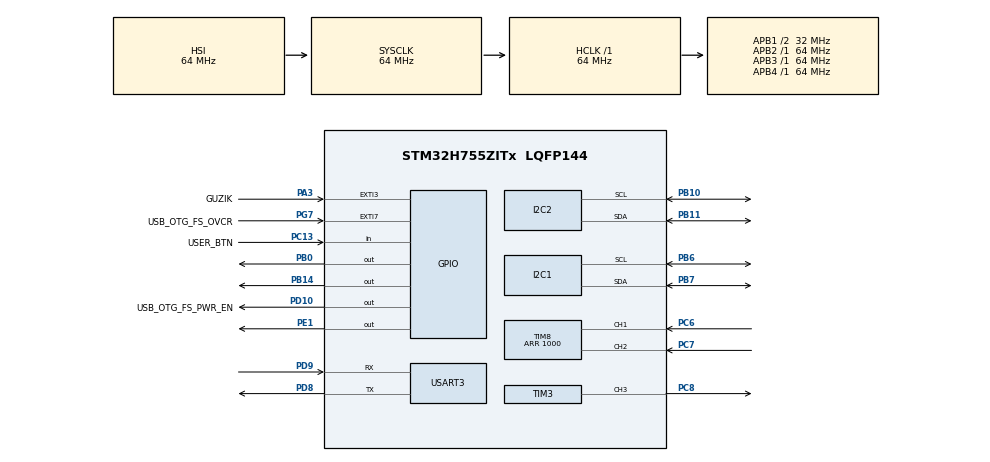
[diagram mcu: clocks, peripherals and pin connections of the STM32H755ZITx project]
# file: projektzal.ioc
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CortexM4.IPs=FATFS_M4\:I,FREERTOS_M4\:I,IWDG2\:I,RCC,WWDG2\:I,DMA,BDMA,MDMA,NVIC2\:I,ETH,USART3,DEBUG,PDM2PCM_M4\:I,PWR,RESMGR_UTILITY,SYS_M4\:I,USB_DEVICE_M4\:I,USB_HOST_M4\:I,CORTEX_M4\:I,GPIO,OPENAMP_M4\:I,VREFBUF,NUCLEO-H755ZI-Q
CortexM7.IPs=FATFS_M7\:I,FREERTOS_M7\:I,IWDG1\:I,RCC\:I,WWDG1\:I,DMA\:I,BDMA\:I,MDMA\:I,NVIC1\:I,ETH\:I,USART3\:I,USB_OTG_FS\:I,SYS\:I,CORTEX_M7\:I,DEBUG\:I,PDM2PCM_M7\:I,PWR\:I,RESMGR_UTILITY\:I,USB_DEVICE_M7\:I,USB_HOST_M7\:I,GPIO\:I,OPENAMP_M7\:I,VREFBUF\:I,NUCLEO-H755ZI-Q\:I,I2C1\:I,TIM2\:I,TIM3\:I,I2C2\:I,TIM8\:I
CortexM7.Pins=PC13,PA3,PB0
I2C1.Timing=0x00707CBB
I2C2.Timing=0x00707CBB
Mcu.Family=STM32H7
Mcu.Name=STM32H755ZITx
Mcu.Package=LQFP144
NVIC1.EXTI3_IRQn=true\:0\:0\:false\:false\:true\:true\:true\:true
NVIC1.I2C1_ER_IRQn=true\:0\:0\:false\:false\:true\:true\:true\:true
NVIC1.I2C1_EV_IRQn=true\:0\:0\:false\:false\:true\:true\:true\:true
NVIC1.I2C2_ER_IRQn=true\:0\:0\:false\:false\:true\:true\:true\:true
NVIC1.I2C2_EV_IRQn=true\:0\:0\:false\:false\:true\:true\:true\:true
NVIC1.PriorityGroup=NVIC_PRIORITYGROUP_4
NVIC1.TIM2_IRQn=true\:0\:0\:false\:false\:true\:true\:true\:true
NVIC1.TIM3_IRQn=true\:0\:0\:false\:false\:true\:true\:true\:true
NVIC1.USART3_IRQn=true\:0\:0\:false\:false\:true\:true\:true\:true
NVIC2.PriorityGroup=NVIC_PRIORITYGROUP_4
PA1.PinAttribute=CortexM7
PA1.Signal=ETH_REF_CLK
PA11.PinAttribute=CortexM7
PA11.Signal=USB_OTG_FS_DM
PA12.PinAttribute=CortexM7
PA12.Signal=USB_OTG_FS_DP
PA2.PinAttribute=CortexM7
PA2.Signal=ETH_MDIO
PA3.GPIO_Label=GUZIK
PA3.GPIO_ModeDefaultEXTI=GPIO_MODE_IT_FALLING
PA3.GPIO_PuPd=GPIO_PULLUP
PA3.PinAttribute=CortexM7
PA3.Signal=GPXTI3
PA7.PinAttribute=CortexM7
PA7.Signal=ETH_CRS_DV
PA8.PinAttribute=CortexM7
PA8.Signal=USB_OTG_FS_SOF
PA9.PinAttribute=CortexM7
PA9.Signal=USB_OTG_FS_VBUS
PB0.GPIO_PuPd=GPIO_NOPULL
PB0.PinAttribute=CortexM7
PB0.Signal=GPIO_Output
PB10.Mode=I2C
PB10.PinAttribute=CortexM7
PB10.Signal=I2C2_SCL
PB11.Mode=I2C
PB11.PinAttribute=CortexM7
PB11.Signal=I2C2_SDA
PB13.PinAttribute=CortexM7
PB13.Signal=ETH_TXD1
PB14.PinAttribute=Free
PB14.Signal=GPIO_Output
PB6.Mode=I2C
PB6.PinAttribute=CortexM7
PB6.Signal=I2C1_SCL
PB7.Mode=I2C
PB7.PinAttribute=CortexM7
PB7.Signal=I2C1_SDA
PC1.PinAttribute=CortexM7
PC1.Signal=ETH_MDC
PC13.GPIO_Label=USER_BTN
PC13.GPIO_PuPd=GPIO_PULLUP
PC13.PinAttribute=CortexM7
PC13.Signal=GPIO_Input
PC14-OSC32_IN\ (OSC32_IN).PinAttribute=Free
PC14-OSC32_IN\ (OSC32_IN).Signal=RCC_OSC32_IN
PC15-OSC32_OUT\ (OSC32_OUT).PinAttribute=Free
PC15-OSC32_OUT\ (OSC32_OUT).Signal=RCC_OSC32_OUT
PC4.PinAttribute=CortexM7
PC4.Signal=ETH_RXD0
PC5.PinAttribute=CortexM7
PC5.Signal=ETH_RXD1
PC6.PinAttribute=CortexM7
PC6.Signal=S_TIM8_CH1
PC7.PinAttribute=CortexM7
PC7.Signal=S_TIM8_CH2
PC8.PinAttribute=CortexM7
PC8.Signal=S_TIM3_CH3
PD10.GPIO_Label=USB_OTG_FS_PWR_EN
PD10.PinAttribute=Free
PD10.Signal=GPIO_Output
PD8.Mode=Asynchronous
PD8.PinAttribute=CortexM7
PD8.Signal=USART3_TX
PD9.Mode=Asynchronous
PD9.PinAttribute=CortexM7
PD9.Signal=USART3_RX
PE1.PinAttribute=Free
PE1.Signal=GPIO_Output
PG11.PinAttribute=CortexM7
PG11.Signal=ETH_TX_EN
PG13.PinAttribute=CortexM7
PG13.Signal=ETH_TXD0
PG7.GPIO_Label=USB_OTG_FS_OVCR
PG7.PinAttribute=Free
PG7.Signal=GPXTI7
PH0-OSC_IN\ (PH0).PinAttribute=Free
PH0-OSC_IN\ (PH0).Signal=RCC_OSC_IN
PH1-OSC_OUT\ (PH1).PinAttribute=Free
PH1-OSC_OUT\ (PH1).Signal=RCC_OSC_OUT
ProjectManager.HeapSize=M4-0x200,M7-0x200
ProjectManager.StackSize=M4-0x400,M7-0x400
ProjectManager.TargetToolchain=STM32CubeIDE
RCC.ADCFreq_Value=129000000
RCC.APB1Freq_Value=32000000
RCC.APB2Freq_Value=64000000
RCC.APB3Freq_Value=64000000
RCC.APB4Freq_Value=64000000
RCC.CortexFreq_Value=64000000
RCC.D2PPRE1=RCC_APB1_DIV2
RCC.DIVM1=5
RCC.DIVN1=48
RCC.DIVQ1=5
RCC.HCLKFreq_Value=64000000
RCC.PLL2FRACN=0
RCC.PLL3FRACN=0
RCC.PLLFRACN=0
RCC.SYSCLKFreq_VALUE=64000000
RCC.SupplySource=PWR_DIRECT_SMPS_SUPPLY
RCC.USBCLockSelection=RCC_USBCLKSOURCE_HSI48
RCC.USBFreq_Value=48000000
SH.S_TIM3_CH3.0=TIM3_CH3,PWM Generation3 CH3
SH.S_TIM8_CH1.0=TIM8_CH1,Encoder_Interface
SH.S_TIM8_CH2.0=TIM8_CH2,Encoder_Interface
TIM2.Period=999
TIM2.Prescaler=639
TIM3.Channel-PWM\ Generation3\ CH3=TIM_CHANNEL_3
TIM3.Period=999
TIM3.Prescaler=63
TIM3.Pulse-PWM\ Generation3\ CH3=500
TIM8.EncoderMode=TIM_ENCODERMODE_TI12
TIM8.Period=1000
USART3.VirtualMode-Asynchronous=VM_ASYNC
VP_SYS_M4_VS_Systick.Mode=SysTick
VP_TIM2_VS_ClockSourceINT.Mode=Internal
board=NUCLEO-H755ZI-Q

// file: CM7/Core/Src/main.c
/* USER CODE BEGIN Header */
/**
  ******************************************************************************
  * @file           : main.c
  * @brief          : Main program body
  ******************************************************************************
  * @attention
  *
  * Copyright (c) 2025 STMicroelectronics.
  * All rights reserved.
  *
  * This software is licensed under terms that can be found in the LICENSE file
  * in the root directory of this software component.
  * If no LICENSE file comes with this software, it is provided AS-IS.
  *
  ******************************************************************************
  */
/* USER CODE END Header */
#include "main.h"
#include "i2c.h"
#include "tim.h"
#include "usart.h"
#include "gpio.h"

/* USER CODE BEGIN Includes */
#include "bmp2.h"
#include "pid.h"
#include <stdint.h>
#include <stdbool.h>
#include <stdio.h>
#include <math.h>
#include "lcd_i2c.h"

/* USER CODE END Includes */

/* USER CODE BEGIN PD */

#ifndef HSEM_ID_0
#define HSEM_ID_0 (0U) /* HW semaphore 0*/
#endif

/* USER CODE END PD */

/* USER CODE BEGIN PV */
  BMP280_CalibrationData calib_data;

  char uart_msg[50];
  float temperature;
  float liczba_pom=0.0;
  char wejscie[3];
  char pomoc[2];
  float wartosc =28.0f;
  float wartosc_spr =0.0f;
  float kp=8000.0;
  float ki=1500.0;
  float kd=100.0;
  pid_str pid_controller;
  char uchyb[50];
  char sygnal[50];
  float pid_output=0.0;
  float scaled_output=0.0;
  int final_output=0;
  int licznik = 0;
  struct lcd_disp disp;
  int min_pid = 0;
  int max_pid = 1000;
  float min_zak = 20.0f;
  float max_zak = 40.0f;
  float wartosc_enk = 0.0f;

  //float sigmoid(float x) {return 2.0 * (1.0 / (1.0 + exp(-0.5*x)) - 0.5);}

/* USER CODE END PV */

void SystemClock_Config(void);

int main(void)
{

/* USER CODE BEGIN Boot_Mode_Sequence_0 */
  int32_t timeout;
/* USER CODE END Boot_Mode_Sequence_0 */

/* USER CODE BEGIN Boot_Mode_Sequence_1 */
  /* Wait until CPU2 boots and enters in stop mode or timeout*/
  timeout = 0xFFFF;
  while((__HAL_RCC_GET_FLAG(RCC_FLAG_D2CKRDY) != RESET) && (timeout-- > 0));
  if ( timeout < 0 )
  {
  Error_Handler();
  }
/* USER CODE END Boot_Mode_Sequence_1 */
  /* MCU Configuration--------------------------------------------------------*/

  /* Reset of all peripherals, Initializes the Flash interface and the Systick. */
  HAL_Init();

  /* Configure the system clock */
  SystemClock_Config();
/* USER CODE BEGIN Boot_Mode_Sequence_2 */
/* When system initialization is finished, Cortex-M7 will release Cortex-M4 by means of
HSEM notification */
/*HW semaphore Clock enable*/
__HAL_RCC_HSEM_CLK_ENABLE();
/*Take HSEM */
HAL_HSEM_FastTake(HSEM_ID_0);
/*Release HSEM in order to notify the CPU2(CM4)*/
HAL_HSEM_Release(HSEM_ID_0,0);
/* wait until CPU2 wakes up from stop mode */
timeout = 0xFFFF;
while((__HAL_RCC_GET_FLAG(RCC_FLAG_D2CKRDY) == RESET) && (timeout-- > 0));
if ( timeout < 0 )
{
Error_Handler();
}
/* USER CODE END Boot_Mode_Sequence_2 */

  /* Initialize all configured peripherals */
  MX_GPIO_Init();
  MX_I2C1_Init();
  MX_USART3_UART_Init();
  MX_TIM2_Init();
  MX_TIM3_Init();
  MX_I2C2_Init();
  MX_TIM8_Init();
  /* USER CODE BEGIN 2 */
  BMP280_Init(&hi2c1);

  BMP280_ReadCalibrationData(&hi2c1, &calib_data);
  HAL_TIM_PWM_Stop(&htim3, TIM_CHANNEL_3);
  __HAL_TIM_SET_COMPARE(&htim3, TIM_CHANNEL_3, 0);
  	  htim3.Init.Period = 999;
  HAL_TIM_Base_Init(&htim3);
  HAL_TIM_Base_Start(&htim3);
  HAL_TIM_PWM_Start(&htim3, TIM_CHANNEL_3);

  pid_init(&pid_controller,  kp,  ki,  kd,5000);

  	  disp.addr = (0x27 << 1);
    disp.bl = true;
    lcd_init(&disp);

    HAL_TIM_Encoder_Start(&htim8 , TIM_CHANNEL_ALL) ;
  /* USER CODE END 2 */

  /* Infinite loop */
  /* USER CODE BEGIN WHILE */
  HAL_TIM_Base_Start_IT(&htim2);
  HAL_UART_Receive_IT(&huart3, wejscie, 3);

  while (1)
  {
	  uint32_t enkoder = __HAL_TIM_GET_COUNTER(&htim8);

	  __HAL_TIM_SET_COUNTER(&htim8 , enkoder );
	  wartosc_enk =(float) (enkoder/50+20);
	  if(HAL_GPIO_ReadPin(GPIOB, GPIO_PIN_0) == GPIO_PIN_SET)
	  {
	  char zmienna [20] ;
	  snprintf(zmienna, sizeof(zmienna), "%.2f",wartosc_enk);
	  HAL_UART_Transmit(&huart3 ,"Licznik:", strlen("Licznik:") ,1000 );
	  HAL_UART_Transmit(&huart3 ,( uint8_t*) zmienna, strlen(zmienna) ,1000 );
	  HAL_UART_Transmit(&huart3 ,( uint8_t*) "\r\n", strlen( "\r\n" ), 1000 );
	  wartosc = wartosc_enk;
	  }

 	 char sygnal[50];
 	 snprintf(sygnal, sizeof(sygnal), "Sygnal: %d \r\n", final_output);
 	 char tempe[50];
 	 snprintf(tempe, sizeof(tempe), "Temp: %.2f C\r\n", temperature);
	     sprintf((char *)disp.f_line, sygnal);
	     sprintf((char *)disp.s_line, tempe);
	     lcd_display(&disp);
	     HAL_Delay(500);

    /* USER CODE END WHILE */

  }
}

void SystemClock_Config(void)
{
  RCC_OscInitTypeDef RCC_OscInitStruct = {0};
  RCC_ClkInitTypeDef RCC_ClkInitStruct = {0};

  /** Supply configuration update enable
  */
  HAL_PWREx_ConfigSupply(PWR_DIRECT_SMPS_SUPPLY);

  /** Configure the main internal regulator output voltage
  */
  __HAL_PWR_VOLTAGESCALING_CONFIG(PWR_REGULATOR_VOLTAGE_SCALE3);

  while(!__HAL_PWR_GET_FLAG(PWR_FLAG_VOSRDY)) {}

  /** Initializes the RCC Oscillators according to the specified parameters
  * in the RCC_OscInitTypeDef structure.
  */
  RCC_OscInitStruct.OscillatorType = RCC_OSCILLATORTYPE_HSI;
  RCC_OscInitStruct.HSIState = RCC_HSI_DIV1;
  RCC_OscInitStruct.HSICalibrationValue = RCC_HSICALIBRATION_DEFAULT;
  RCC_OscInitStruct.PLL.PLLState = RCC_PLL_NONE;
  if (HAL_RCC_OscConfig(&RCC_OscInitStruct) != HAL_OK)
  {
    Error_Handler();
  }

  /** Initializes the CPU, AHB and APB buses clocks
  */
  RCC_ClkInitStruct.ClockType = RCC_CLOCKTYPE_HCLK|RCC_CLOCKTYPE_SYSCLK
                              |RCC_CLOCKTYPE_PCLK1|RCC_CLOCKTYPE_PCLK2
                              |RCC_CLOCKTYPE_D3PCLK1|RCC_CLOCKTYPE_D1PCLK1;
  RCC_ClkInitStruct.SYSCLKSource = RCC_SYSCLKSOURCE_HSI;
  RCC_ClkInitStruct.SYSCLKDivider = RCC_SYSCLK_DIV1;
  RCC_ClkInitStruct.AHBCLKDivider = RCC_HCLK_DIV1;
  RCC_ClkInitStruct.APB3CLKDivider = RCC_APB3_DIV1;
  RCC_ClkInitStruct.APB1CLKDivider = RCC_APB1_DIV2;
  RCC_ClkInitStruct.APB2CLKDivider = RCC_APB2_DIV1;
  RCC_ClkInitStruct.APB4CLKDivider = RCC_APB4_DIV1;

  if (HAL_RCC_ClockConfig(&RCC_ClkInitStruct, FLASH_LATENCY_1) != HAL_OK)
  {
    Error_Handler();
  }
}

/* USER CODE BEGIN 4 */

void HAL_GPIO_EXTI_Callback(uint16_t GPIO_Pin)
{
	if (GPIO_Pin == GPIO_PIN_3)  // Sprawdzenie, czy to przycisk na PA3
	    {
	        if (HAL_GPIO_ReadPin(GPIOB, GPIO_PIN_0) == GPIO_PIN_RESET)
	        {
	            HAL_GPIO_WritePin(GPIOB, GPIO_PIN_0, GPIO_PIN_SET);  // Włącz diodę
	        }
	        else
	        {
	            HAL_GPIO_WritePin(GPIOB, GPIO_PIN_0, GPIO_PIN_RESET); // Wyłącz diodę
	        }
	    }
}

void HAL_TIM_PeriodElapsedCallback(TIM_HandleTypeDef *htim)
{
  if (htim->Instance == TIM2)
  {
    // Timer interrupt triggered, perform UART transmission here
    temperature = BMP280_ReadTemperature(&hi2c1, &calib_data);
    pid_output = pid_calculate(&pid_controller, wartosc, temperature);
    licznik = licznik + 1;

    scaled_output = ((pid_output - min_pid) / (float)(max_pid - min_pid))*1000.0;

     if (scaled_output < 0.0) {
         final_output = 0;
     } else if (scaled_output > 1000.0) {
         final_output = 1000;
     } else {
         final_output = (int)scaled_output;  // rzutowanie na int
     }

           // Ustawienie wypełnienia PWM
     __HAL_TIM_SET_COMPARE(&htim3, TIM_CHANNEL_3, final_output);
     if (licznik==50)
     {
    	 char msg[50];
    	 snprintf(msg, sizeof(msg), "Wypełnienie: %d \r\n", final_output);

    	 HAL_UART_Transmit(&huart3, (uint8_t *)msg, strlen(msg), HAL_MAX_DELAY);
    	 char uart_msg[50];
    	 snprintf(uart_msg, sizeof(uart_msg), "Temperature: %.2f C\r\n", temperature);

    	 HAL_UART_Transmit(&huart3, (uint8_t *)uart_msg, strlen(uart_msg), HAL_MAX_DELAY);
    	 licznik=0;
     }

  }
}

void HAL_UART_RxCpltCallback(UART_HandleTypeDef *huart)
{
    if (huart->Instance == USART3) {
    	if(HAL_GPIO_ReadPin(GPIOB, GPIO_PIN_0) == GPIO_PIN_RESET){

        if (strncmp("B", (char*)wejscie, 1) == 0) {
        	 	pomoc[0] = wejscie[1];
        	    pomoc[1] = wejscie[2];

        	wartosc_spr =(float) atoi(pomoc);

        	if (wartosc_spr>40 || wartosc_spr<20){
        		HAL_UART_Transmit(&huart3, "WARTOSC POZA ZAKRESEM BEZPIECZNYM 20-40 !!!", strlen("WARTOSC POZA ZAKRESEM BEZPIECZNYM 20-40 !!!"), 10);
        	}
        	else{
        			wartosc = wartosc_spr;
        			pid_reset(&pid_controller);
        		 // Wysyłamy wynik przez UART
        		 char transmit_msg[10];
        		 snprintf(transmit_msg, sizeof(transmit_msg), "%.1f", wartosc);

        		 HAL_UART_Transmit(&huart3 ,"ZADANE:", strlen("ZADANE:") ,1000 );
        		 HAL_UART_Transmit(&huart3, (uint8_t*)transmit_msg, strlen(transmit_msg), 10);
        		 HAL_UART_Transmit(&huart3 ,( uint8_t*) "\r\n", strlen( "\r\n" ), 1000 );
        		 memset(wejscie, ' ', 3);

        	}
        }
    	}
        HAL_UART_Receive_IT(&huart3, (uint8_t*)wejscie, 3);
    }
}

/* USER CODE END 4 */

void Error_Handler(void)
{
  __disable_irq();
  while (1)
  {
  }
}
